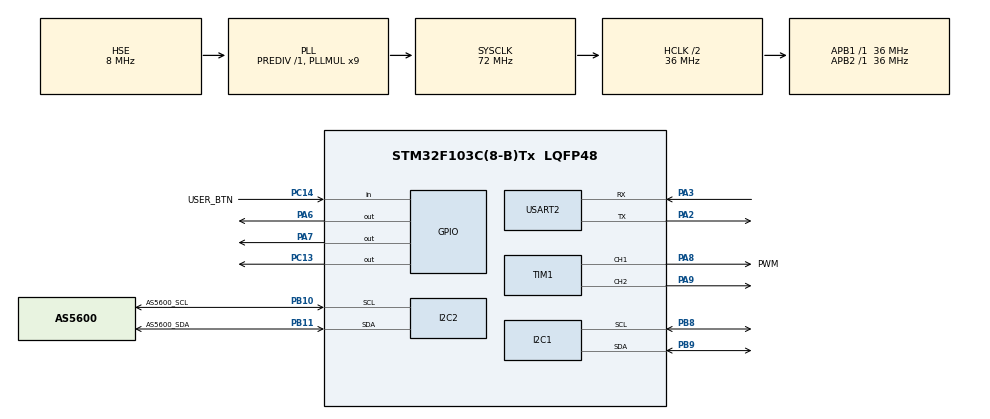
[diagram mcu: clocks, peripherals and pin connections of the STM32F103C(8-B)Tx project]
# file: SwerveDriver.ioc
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I2C1.GeneralCallMode=I2C_GENERALCALL_DISABLE
I2C1.OwnAddress=0x14
Mcu.Family=STM32F1
Mcu.Name=STM32F103C(8-B)Tx
Mcu.Package=LQFP48
NVIC.I2C1_ER_IRQn=true\:0\:0\:true\:false\:true\:true\:true\:true
NVIC.I2C1_EV_IRQn=true\:0\:0\:true\:false\:true\:true\:true\:true
NVIC.I2C2_ER_IRQn=true\:0\:0\:true\:false\:true\:true\:true\:true
NVIC.I2C2_EV_IRQn=true\:0\:0\:true\:false\:true\:true\:true\:true
NVIC.PriorityGroup=NVIC_PRIORITYGROUP_2
NVIC.TIM1_CC_IRQn=true\:0\:1\:true\:false\:true\:true\:true\:true
NVIC.TIM1_UP_IRQn=true\:0\:1\:true\:false\:true\:true\:true\:true
NVIC.USART2_IRQn=true\:0\:0\:false\:false\:true\:true\:true\:true
PA13.Mode=Trace_Asynchronous_SW
PA13.Signal=SYS_JTMS-SWDIO
PA14.Mode=Trace_Asynchronous_SW
PA14.Signal=SYS_JTCK-SWCLK
PA2.Mode=Asynchronous
PA2.Signal=USART2_TX
PA3.Mode=Asynchronous
PA3.Signal=USART2_RX
PA6.Signal=GPIO_Output
PA7.Signal=GPIO_Output
PA8.GPIO_Label=PWM
PA8.GPIO_Speed=GPIO_SPEED_FREQ_MEDIUM
PA8.Signal=S_TIM1_CH1
PA9.Signal=S_TIM1_CH2
PB10.GPIO_Label=AS5600_SCL
PB10.Mode=I2C
PB10.Signal=I2C2_SCL
PB11.GPIO_Label=AS5600_SDA
PB11.Mode=I2C
PB11.Signal=I2C2_SDA
PB3.Mode=Trace_Asynchronous_SW
PB3.Signal=SYS_JTDO-TRACESWO
PB8.Mode=I2C
PB8.Signal=I2C1_SCL
PB9.Mode=I2C
PB9.Signal=I2C1_SDA
PC13-TAMPER-RTC.GPIO_Speed=GPIO_SPEED_FREQ_HIGH
PC13-TAMPER-RTC.Signal=GPIO_Output
PC14-OSC32_IN.GPIO_Label=USER_BTN
PC14-OSC32_IN.Signal=GPIO_Input
PD0-OSC_IN.Mode=HSE-External-Oscillator
PD0-OSC_IN.Signal=RCC_OSC_IN
PD1-OSC_OUT.Mode=HSE-External-Oscillator
PD1-OSC_OUT.Signal=RCC_OSC_OUT
ProjectManager.HeapSize=0x200
ProjectManager.StackSize=0x400
ProjectManager.TargetToolchain=MDK-ARM V5
RCC.AHBCLKDivider=RCC_SYSCLK_DIV2
RCC.AHBFreq_Value=36000000
RCC.APB1Freq_Value=36000000
RCC.APB1TimFreq_Value=36000000
RCC.APB2Freq_Value=36000000
RCC.APB2TimFreq_Value=36000000
RCC.HCLKFreq_Value=36000000
RCC.PLLMUL=RCC_PLL_MUL9
RCC.PLLSourceVirtual=RCC_PLLSOURCE_HSE
RCC.SYSCLKFreq_VALUE=72000000
RCC.SYSCLKSource=RCC_SYSCLKSOURCE_PLLCLK
RCC.USBFreq_Value=72000000
SH.S_TIM1_CH1.0=TIM1_CH1,PWM Generation1 CH1
SH.S_TIM1_CH2.0=TIM1_CH2,PWM Generation2 CH2
TIM1.AutoReloadPreload=TIM_AUTORELOAD_PRELOAD_ENABLE
TIM1.Channel-PWM\ Generation1\ CH1=TIM_CHANNEL_1
TIM1.Channel-PWM\ Generation2\ CH2=TIM_CHANNEL_2
TIM1.OCPolarity_1=TIM_OCPOLARITY_HIGH
TIM1.OCPolarity_2=TIM_OCPOLARITY_HIGH
USART2.VirtualMode=VM_ASYNC
VP_TIM1_VS_ClockSourceINT.Mode=Internal
board=custom

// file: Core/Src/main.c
/* USER CODE BEGIN Header */
/**
 ******************************************************************************
 * @file           : main.c
 * @brief          : Main program body
 ******************************************************************************
 * @attention
 *
 * Copyright (c) 2023 STMicroelectronics.
 * All rights reserved.
 *
 * This software is licensed under terms that can be found in the LICENSE file
 * in the root directory of this software component.
 * If no LICENSE file comes with this software, it is provided AS-IS.
 *
 ******************************************************************************
 */
/* USER CODE END Header */
#include "main.h"

/* USER CODE BEGIN Includes */
#include "as5600.h"
#include "pid.h"
#include "math.h"
#include "stdbool.h"
#include "stdio.h"
#include "i2c_slave.h"
#include "FLASH_PAGE_F1.h"
#include "BUTTON.h"
/* USER CODE END Includes */

/* USER CODE BEGIN PTD */
PID_TypeDef RPID;
// BUTTON_Name Mode_Btn;
/* USER CODE END PTD */

/* USER CODE BEGIN PD */
#define AS5600_1_AInit 0
#define PWM_Freq 5000

/* USER CODE END PD */

I2C_HandleTypeDef hi2c1;
I2C_HandleTypeDef hi2c2;

TIM_HandleTypeDef htim1;

UART_HandleTypeDef huart2;

/* USER CODE BEGIN PV */

// flash variables
uint32_t Page_Address = 0x0801FC00;
float Data_To_Flash[7] = {2, 0.8, 0.005, 25, -25, 1, 0};
float Rx_Data[7];
// vaiables for AS5600
float Angle = 180;
uint8_t checkAS = 1;
uint32_t count = 0;
uint32_t period;
float prev_angle = 0;
float angle_diff = 0;
float angle_raw = 0;
// variables for PID
double Angle_Temp, PIDOut, TempSetpoint;
float Kp, Ki, Kd;
int8_t Out_Max, Out_Min;
// variables for I2C slave
uint8_t Self_Address = 0x08;
bool I2C_flag = 0;
bool Init_Flag = 1;
// uint8_t Scan_Arr[128];
//  usart variables
uint8_t USART_Short_Tx_Buffer[14];
uint8_t USART_Rx_Buffer[35];
uint8_t USART_Long_Tx_Buffer[42];
uint8_t buffer;
uint8_t rx_index = 0;
bool Debug_Flag = 0;
bool Get_Flag = 0;
uint8_t float_arr_test[4];
float tesst = 0;
bool Set_Flag = 0;

uint8_t Status = 0;
uint8_t Angle_Calib_Check = 0;
/* USER CODE END PV */

void SystemClock_Config(void);
static void MX_GPIO_Init(void);
static void MX_TIM1_Init(void);
static void MX_I2C2_Init(void);
static void MX_USART2_UART_Init(void);
static void MX_I2C1_Init(void);

/* USER CODE BEGIN 0 */

void PID_Setup()
{
  Kp = Rx_Data[0];
  Ki = Rx_Data[1];
  Kd = Rx_Data[2];
  Out_Max = Rx_Data[3];
  Out_Min = Rx_Data[4];
  Self_Address = (uint8_t)Rx_Data[5];
  hi2c1.Init.OwnAddress1 = Self_Address << 1;

  TempSetpoint = AS5600_1_AInit;
  PID(&RPID, &Angle_Temp, &PIDOut, &TempSetpoint, Kp, Ki, Kd, _PID_P_ON_E, _PID_CD_DIRECT);
  PID_SetMode(&RPID, _PID_MODE_AUTOMATIC);
  PID_SetSampleTime(&RPID, 2);
  PID_SetOutputLimits(&RPID, Out_Min, Out_Max);
}

void PWM_Gen(uint8_t channel, double duty)
{
  uint32_t period = (SystemCoreClock / 6000) - 1;
  htim1.Instance->ARR = period;
  switch (channel)
  {
  case 1:
    HAL_TIM_PWM_Start(&htim1, TIM_CHANNEL_1);
    if (duty == 0)
    {
      htim1.Instance->CCR1 = 0;
    }
    else
    {
      htim1.Instance->CCR1 = (uint32_t)((period * duty) / 100);
    }
    break;
  case 2:
    HAL_TIM_PWM_Start(&htim1, TIM_CHANNEL_2);
    if (duty == 0)
    {
      htim1.Instance->CCR2 = 0;
    }
    else
    {
      htim1.Instance->CCR2 = (uint32_t)((period * duty) / 100);
    }
    break;
  case 0:
    HAL_TIM_PWM_Stop(&htim1, TIM_CHANNEL_ALL);
    HAL_TIM_Base_Stop(&htim1);
    break;
  default:
    break;
  }
}

void I2C_Scan()
{
  while (HAL_I2C_IsDeviceReady(&hi2c2, 0x36 << 1, 2, 10) != HAL_OK)
  {
    HAL_GPIO_TogglePin(GPIOC, GPIO_PIN_13);
    HAL_Delay(80);
  }
}
void print_get()
{
  sprintf(USART_Long_Tx_Buffer, "000,000,00000,%4.1f,%4.1f,%4.1f,%3.0f,%3.0f,0x0%1.0f", Kp, Ki, Kd, (float)Out_Max, (float)Out_Min, (float)Self_Address);
  USART_Long_Tx_Buffer[41] = '\n';
  for (int i = 0; i < 8; i++)
  {
    HAL_UART_Transmit(&huart2, USART_Long_Tx_Buffer, sizeof(USART_Long_Tx_Buffer), 100);
  }
  memset(USART_Long_Tx_Buffer, 0, sizeof(USART_Long_Tx_Buffer));
  HAL_UART_Receive_IT(&huart2, &buffer, 1);
}

void HAL_UART_RxCpltCallback(UART_HandleTypeDef *huart)
{
  UNUSED(huart);
  if (huart->Instance == USART2)
  {
    switch (buffer)
    {
    case 'r':
      buffer = 10;
      Debug_Flag = 1;
      HAL_UART_Receive_IT(&huart2, &buffer, 1);
      break;
    case 's':
      buffer = 10;
      Debug_Flag = 0;
      HAL_UART_Receive_IT(&huart2, &buffer, 1);
      break;
    case 'g':
      Get_Flag = 1;
      print_get();
      break;
    case 'a':
      Data_To_Flash[6] = Data_To_Flash[6] + 1;
      buffer = 'j';
      Flash_Write_Data(Page_Address, (uint32_t *)Data_To_Flash, 8);
      Flash_Read_Data(Page_Address, (uint32_t *)Rx_Data, 8);
      HAL_UART_Receive_IT(&huart2, &buffer, 1);
      break;
    case 'b':
      Data_To_Flash[6] = Data_To_Flash[6] - 1;
      buffer = 'j';
      Flash_Write_Data(Page_Address, (uint32_t *)Data_To_Flash, 8);
      Flash_Read_Data(Page_Address, (uint32_t *)Rx_Data, 8);
      HAL_UART_Receive_IT(&huart2, &buffer, 1);
      break;
    default:
      if (buffer != 10)
      {
        USART_Rx_Buffer[rx_index++] = buffer;
      }
      else if (buffer == 10)
      {
        if (rx_index > 8)
        {
          sscanf(USART_Rx_Buffer, "%f,%f,%f,%f,%f,%f", &Data_To_Flash[0], &Data_To_Flash[1], &Data_To_Flash[2], &Data_To_Flash[3], &Data_To_Flash[4], &Data_To_Flash[5]);
          Flash_Write_Data(Page_Address, (uint32_t *)Data_To_Flash, 8);
          Flash_Read_Data(Page_Address, (uint32_t *)Rx_Data, 8);
          Kp = Rx_Data[0];
          Ki = Rx_Data[1];
          Kd = Rx_Data[2];
          Out_Max = Rx_Data[3];
          Out_Min = Rx_Data[4];
          Self_Address = (uint8_t)Rx_Data[5];
          hi2c1.Init.OwnAddress1 = Self_Address << 1;
          PID_Setup();
          memset(USART_Rx_Buffer, 0, sizeof(USART_Rx_Buffer));
        }
        rx_index = 0;
      }
      HAL_UART_Receive_IT(&huart2, &buffer, 1);
      break;
    }
  }
}

float Infinite_Angle()
{
  prev_angle = angle_raw;
  angle_raw = (float)AS5600_GetAngle();
  if (angle_raw - prev_angle > 250.0)
  {
    angle_diff += 360.0;
  }
  else if (angle_raw - prev_angle < -250.0)
  {
    angle_diff -= 360.0;
  }

  return angle_raw - angle_diff;
}

/* USER CODE END 0 */

int main(void)
{

  /* MCU Configuration--------------------------------------------------------*/

  /* Reset of all peripherals, Initializes the Flash interface and the Systick. */
  HAL_Init();

  /* Configure the system clock */
  SystemClock_Config();

  /* Initialize all configured peripherals */
  MX_GPIO_Init();
  MX_TIM1_Init();
  MX_I2C2_Init();
  MX_USART2_UART_Init();
  MX_I2C1_Init();
  // BUTTON_Init(&Mode_Btn, USER_BTN_GPIO_Port, USER_BTN_Pin);
  // uint16_t Time_Now = 0;
  // while (Time_Now < 1500)
  // {
  //   Time_Now = HAL_GetTick();
  //   if (BUTTON_Read(&Mode_Btn) == 2)
  //   {
  //     Angle_Calib_Check = 1;
  //     break;
  //   }
  //   else
  //   {
  //     Angle_Calib_Check = 0;
  //   }
  // }
  /* USER CODE BEGIN 2 */
  // Flash_Read_Data(Page_Address, (uint32_t *)Rx_Data, 7);
  HAL_TIM_Base_Start(&htim1);
  HAL_TIM_PWM_Start(&htim1, TIM_CHANNEL_1);
  HAL_UART_Receive_IT(&huart2, &buffer, 1);

  HAL_GPIO_WritePin(GPIOC, GPIO_PIN_13, 1);

  Flash_Read_Data(Page_Address, (uint32_t *)Rx_Data, 7);
  Kp = Rx_Data[0];
  Ki = Rx_Data[1];
  Kd = Rx_Data[2];
  Out_Max = Rx_Data[3];
  Out_Min = Rx_Data[4];
  Self_Address = (uint8_t)Rx_Data[5];

  for (uint8_t i = 0; i < 7; i++)
  {
    Data_To_Flash[i] = Rx_Data[i];
  }

  PID_Setup();

  // fucntion to scan i2c device
  I2C_Scan();
  MX_I2C1_Init();
  if (HAL_I2C_EnableListen_IT(&hi2c1) != HAL_OK)
  {
    Error_Handler();
  }
  // PWM_Gen(1, 0);
  // PWM_Gen(2, 0);
  HAL_GPIO_WritePin(GPIOA, GPIO_PIN_6, 1);
  HAL_GPIO_WritePin(GPIOA, GPIO_PIN_7, 1);
  /* USER CODE END 2 */

  /* Infinite loop */
  /* USER CODE BEGIN WHILE */
  while (1)
  {
    if (Return_Connected())
    {
      TempSetpoint = (double)Return_Data();
    }
    else
    {
      TempSetpoint = AS5600_1_AInit;
    }

    Angle_Temp = (int16_t)(Infinite_Angle() - Rx_Data[6]);

    PID_Compute(&RPID);
    if (PIDOut < 0)
    {
      PIDOut = -PIDOut;
      PWM_Gen(1, PIDOut);
      PWM_Gen(2, 0);
    }
    else
    {
      PWM_Gen(1, 0);
      PWM_Gen(2, PIDOut);
    }
    Angle_Temp = (int16_t)(Infinite_Angle() - Rx_Data[6]);
    if (Debug_Flag)
    {
      sprintf(USART_Short_Tx_Buffer, "%3.0f,%3.0f,%2.3f", Angle_Temp, (float)TempSetpoint, (float)PIDOut);
      USART_Short_Tx_Buffer[13] = '\n';
      if (USART_Short_Tx_Buffer[3] == ',' && USART_Short_Tx_Buffer[7] == ',')
      {
        HAL_UART_Transmit(&huart2, USART_Short_Tx_Buffer, 14, 100);
      }
      else
      {
        memset(USART_Short_Tx_Buffer, '/0', 14);
      }

    }
    Angle_Temp = (int16_t)(Infinite_Angle() - Rx_Data[6]);
    /* USER CODE END WHILE */

  }
}

void SystemClock_Config(void)
{
  RCC_OscInitTypeDef RCC_OscInitStruct = {0};
  RCC_ClkInitTypeDef RCC_ClkInitStruct = {0};

  /** Initializes the RCC Oscillators according to the specified parameters
   * in the RCC_OscInitTypeDef structure.
   */
  RCC_OscInitStruct.OscillatorType = RCC_OSCILLATORTYPE_HSE;
  RCC_OscInitStruct.HSEState = RCC_HSE_ON;
  RCC_OscInitStruct.HSEPredivValue = RCC_HSE_PREDIV_DIV1;
  RCC_OscInitStruct.HSIState = RCC_HSI_ON;
  RCC_OscInitStruct.PLL.PLLState = RCC_PLL_ON;
  RCC_OscInitStruct.PLL.PLLSource = RCC_PLLSOURCE_HSE;
  RCC_OscInitStruct.PLL.PLLMUL = RCC_PLL_MUL9;
  if (HAL_RCC_OscConfig(&RCC_OscInitStruct) != HAL_OK)
  {
    Error_Handler();
  }

  /** Initializes the CPU, AHB and APB buses clocks
   */
  RCC_ClkInitStruct.ClockType = RCC_CLOCKTYPE_HCLK | RCC_CLOCKTYPE_SYSCLK | RCC_CLOCKTYPE_PCLK1 | RCC_CLOCKTYPE_PCLK2;
  RCC_ClkInitStruct.SYSCLKSource = RCC_SYSCLKSOURCE_PLLCLK;
  RCC_ClkInitStruct.AHBCLKDivider = RCC_SYSCLK_DIV2;
  RCC_ClkInitStruct.APB1CLKDivider = RCC_HCLK_DIV1;
  RCC_ClkInitStruct.APB2CLKDivider = RCC_HCLK_DIV1;

  if (HAL_RCC_ClockConfig(&RCC_ClkInitStruct, FLASH_LATENCY_2) != HAL_OK)
  {
    Error_Handler();
  }
}

static void MX_I2C1_Init(void)
{

  hi2c1.Instance = I2C1;
  hi2c1.Init.ClockSpeed = 100000;
  hi2c1.Init.DutyCycle = I2C_DUTYCYCLE_2;
  hi2c1.Init.OwnAddress1 = Self_Address << 1;
  hi2c1.Init.AddressingMode = I2C_ADDRESSINGMODE_7BIT;
  hi2c1.Init.DualAddressMode = I2C_DUALADDRESS_DISABLE;
  hi2c1.Init.OwnAddress2 = 0;
  hi2c1.Init.GeneralCallMode = I2C_GENERALCALL_DISABLE;
  hi2c1.Init.NoStretchMode = I2C_NOSTRETCH_DISABLE;
  if (HAL_I2C_Init(&hi2c1) != HAL_OK)
  {
    Error_Handler();
  }
}

static void MX_I2C2_Init(void)
{

  hi2c2.Instance = I2C2;
  hi2c2.Init.ClockSpeed = 100000;
  hi2c2.Init.DutyCycle = I2C_DUTYCYCLE_2;
  hi2c2.Init.OwnAddress1 = 0;
  hi2c2.Init.AddressingMode = I2C_ADDRESSINGMODE_7BIT;
  hi2c2.Init.DualAddressMode = I2C_DUALADDRESS_DISABLE;
  hi2c2.Init.OwnAddress2 = 0;
  hi2c2.Init.GeneralCallMode = I2C_GENERALCALL_DISABLE;
  hi2c2.Init.NoStretchMode = I2C_NOSTRETCH_DISABLE;
  if (HAL_I2C_Init(&hi2c2) != HAL_OK)
  {
    Error_Handler();
  }
}

static void MX_TIM1_Init(void)
{

  TIM_ClockConfigTypeDef sClockSourceConfig = {0};
  TIM_MasterConfigTypeDef sMasterConfig = {0};
  TIM_OC_InitTypeDef sConfigOC = {0};
  TIM_BreakDeadTimeConfigTypeDef sBreakDeadTimeConfig = {0};

  htim1.Instance = TIM1;
  htim1.Init.Prescaler = 0;
  htim1.Init.CounterMode = TIM_COUNTERMODE_UP;
  htim1.Init.Period = 65535;
  htim1.Init.ClockDivision = TIM_CLOCKDIVISION_DIV1;
  htim1.Init.RepetitionCounter = 0;
  htim1.Init.AutoReloadPreload = TIM_AUTORELOAD_PRELOAD_ENABLE;
  if (HAL_TIM_Base_Init(&htim1) != HAL_OK)
  {
    Error_Handler();
  }
  sClockSourceConfig.ClockSource = TIM_CLOCKSOURCE_INTERNAL;
  if (HAL_TIM_ConfigClockSource(&htim1, &sClockSourceConfig) != HAL_OK)
  {
    Error_Handler();
  }
  if (HAL_TIM_PWM_Init(&htim1) != HAL_OK)
  {
    Error_Handler();
  }
  sMasterConfig.MasterOutputTrigger = TIM_TRGO_RESET;
  sMasterConfig.MasterSlaveMode = TIM_MASTERSLAVEMODE_DISABLE;
  if (HAL_TIMEx_MasterConfigSynchronization(&htim1, &sMasterConfig) != HAL_OK)
  {
    Error_Handler();
  }
  sConfigOC.OCMode = TIM_OCMODE_PWM1;
  sConfigOC.Pulse = 0;
  sConfigOC.OCPolarity = TIM_OCPOLARITY_HIGH;
  sConfigOC.OCNPolarity = TIM_OCNPOLARITY_HIGH;
  sConfigOC.OCFastMode = TIM_OCFAST_DISABLE;
  sConfigOC.OCIdleState = TIM_OCIDLESTATE_RESET;
  sConfigOC.OCNIdleState = TIM_OCNIDLESTATE_RESET;
  if (HAL_TIM_PWM_ConfigChannel(&htim1, &sConfigOC, TIM_CHANNEL_1) != HAL_OK)
  {
    Error_Handler();
  }
  if (HAL_TIM_PWM_ConfigChannel(&htim1, &sConfigOC, TIM_CHANNEL_2) != HAL_OK)
  {
    Error_Handler();
  }
  sBreakDeadTimeConfig.OffStateRunMode = TIM_OSSR_DISABLE;
  sBreakDeadTimeConfig.OffStateIDLEMode = TIM_OSSI_DISABLE;
  sBreakDeadTimeConfig.LockLevel = TIM_LOCKLEVEL_OFF;
  sBreakDeadTimeConfig.DeadTime = 0;
  sBreakDeadTimeConfig.BreakState = TIM_BREAK_DISABLE;
  sBreakDeadTimeConfig.BreakPolarity = TIM_BREAKPOLARITY_HIGH;
  sBreakDeadTimeConfig.AutomaticOutput = TIM_AUTOMATICOUTPUT_DISABLE;
  if (HAL_TIMEx_ConfigBreakDeadTime(&htim1, &sBreakDeadTimeConfig) != HAL_OK)
  {
    Error_Handler();
  }
  HAL_TIM_MspPostInit(&htim1);
}

static void MX_USART2_UART_Init(void)
{

  huart2.Instance = USART2;
  huart2.Init.BaudRate = 115200;
  huart2.Init.WordLength = UART_WORDLENGTH_8B;
  huart2.Init.StopBits = UART_STOPBITS_1;
  huart2.Init.Parity = UART_PARITY_NONE;
  huart2.Init.Mode = UART_MODE_TX_RX;
  huart2.Init.HwFlowCtl = UART_HWCONTROL_NONE;
  huart2.Init.OverSampling = UART_OVERSAMPLING_16;
  if (HAL_UART_Init(&huart2) != HAL_OK)
  {
    Error_Handler();
  }
}

static void MX_GPIO_Init(void)
{
  GPIO_InitTypeDef GPIO_InitStruct = {0};

  /* GPIO Ports Clock Enable */
  __HAL_RCC_GPIOC_CLK_ENABLE();
  __HAL_RCC_GPIOD_CLK_ENABLE();
  __HAL_RCC_GPIOA_CLK_ENABLE();
  __HAL_RCC_GPIOB_CLK_ENABLE();

  /*Configure GPIO pin Output Level */
  HAL_GPIO_WritePin(GPIOC, GPIO_PIN_13, GPIO_PIN_RESET);

  /*Configure GPIO pin Output Level */
  HAL_GPIO_WritePin(GPIOA, GPIO_PIN_6 | GPIO_PIN_7, GPIO_PIN_RESET);

  /*Configure GPIO pin : PC13 */
  GPIO_InitStruct.Pin = GPIO_PIN_13;
  GPIO_InitStruct.Mode = GPIO_MODE_OUTPUT_PP;
  GPIO_InitStruct.Pull = GPIO_NOPULL;
  GPIO_InitStruct.Speed = GPIO_SPEED_FREQ_HIGH;
  HAL_GPIO_Init(GPIOC, &GPIO_InitStruct);

  /*Configure GPIO pin : USER_BTN_Pin */
  GPIO_InitStruct.Pin = USER_BTN_Pin;
  GPIO_InitStruct.Mode = GPIO_MODE_INPUT;
  GPIO_InitStruct.Pull = GPIO_NOPULL;
  HAL_GPIO_Init(USER_BTN_GPIO_Port, &GPIO_InitStruct);

  /*Configure GPIO pins : PA6 PA7 */
  GPIO_InitStruct.Pin = GPIO_PIN_6 | GPIO_PIN_7;
  GPIO_InitStruct.Mode = GPIO_MODE_OUTPUT_PP;
  GPIO_InitStruct.Pull = GPIO_NOPULL;
  GPIO_InitStruct.Speed = GPIO_SPEED_FREQ_LOW;
  HAL_GPIO_Init(GPIOA, &GPIO_InitStruct);

}

void Error_Handler(void)
{
  __disable_irq();
  while (1)
  {
  }
}
